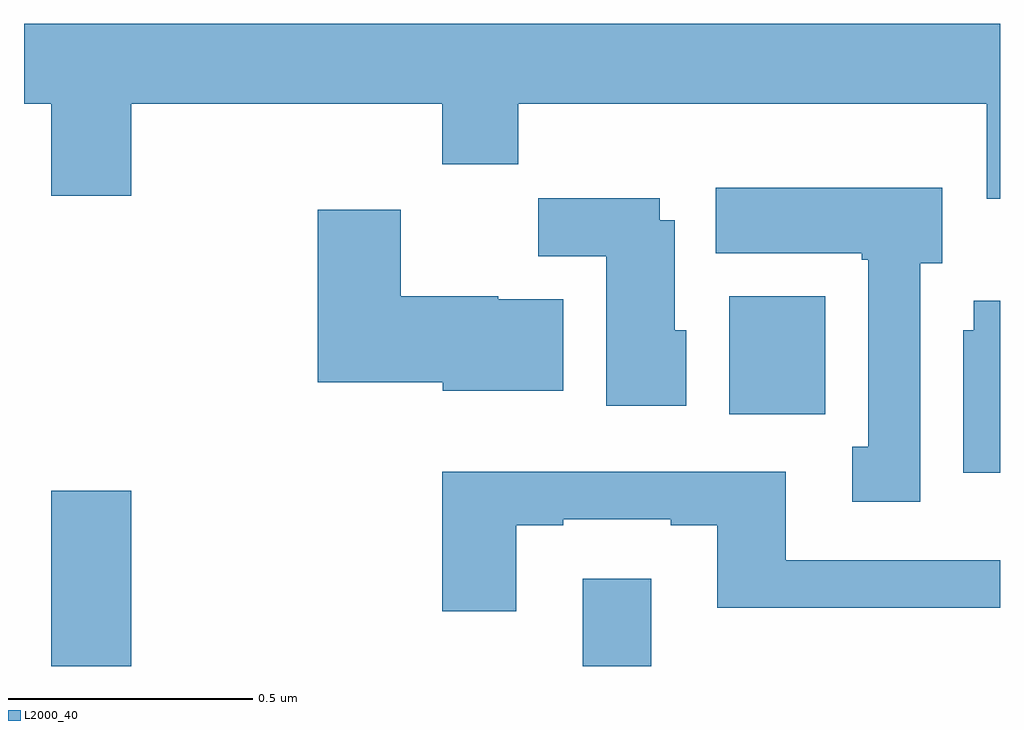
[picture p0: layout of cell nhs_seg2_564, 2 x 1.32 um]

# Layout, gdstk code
import gdstk
lib = gdstk.Library(unit=1e-6, precision=1e-09)
def R(c, l, rs):  # rectangles x0, y0, x1, y1
    for r in rs: c.add(gdstk.rectangle(r[:2], r[2:], *l))
def P(c, l, *ps):  # polygons
    for p in ps: c.add(gdstk.Polygon(p, *l))
L2000_40 = (2000, 40)

nhs_seg2_564 = lib.new_cell('nhs_seg2_564')
R(nhs_seg2_564, L2000_40, [(117.056,663.8,117.22,664.159), (118.145,663.8,118.285,663.979), (118.445,664.316,118.642,664.558)])
P(nhs_seg2_564, L2000_40, [(119,665.116),(117,665.116),(117,664.952),(117.056,664.952),(117.056,664.764),(117.22,664.764),(117.22,664.952),(117.857,664.952),(117.857,664.828),(118.013,664.828),(118.013,664.952),(118.973,664.952),(118.973,664.758),(119,664.758)],
  [(118.837,664.626),(118.882,664.626),(118.882,664.78),(118.418,664.78),(118.418,664.646),(118.717,664.646),(118.717,664.633),(118.73,664.633),(118.73,664.25),(118.697,664.25),(118.697,664.137),(118.837,664.137)],
  [(118.357,664.488),(118.333,664.488),(118.333,664.714),(118.303,664.714),(118.303,664.759),(118.054,664.759),(118.054,664.64),(118.193,664.64),(118.193,664.334),(118.357,664.334)],
  [(118.105,664.552),(117.972,664.552),(117.972,664.558),(117.772,664.558),(117.772,664.735),(117.602,664.735),(117.602,664.382),(117.858,664.382),(117.858,664.364),(118.105,664.364)],
  [(119,664.549),(118.946,664.549),(118.946,664.488),(118.925,664.488),(118.925,664.196),(119,664.196)],
  [(118.009,664.089),(118.105,664.089),(118.105,664.101),(118.325,664.101),(118.325,664.089),(118.421,664.089),(118.421,663.92),(119,663.92),(119,664.017),(118.561,664.017),(118.561,664.198),(117.857,664.198),(117.857,663.912),(118.009,663.912)])

lib.write_gds('nhs_seg2_564.gds')
